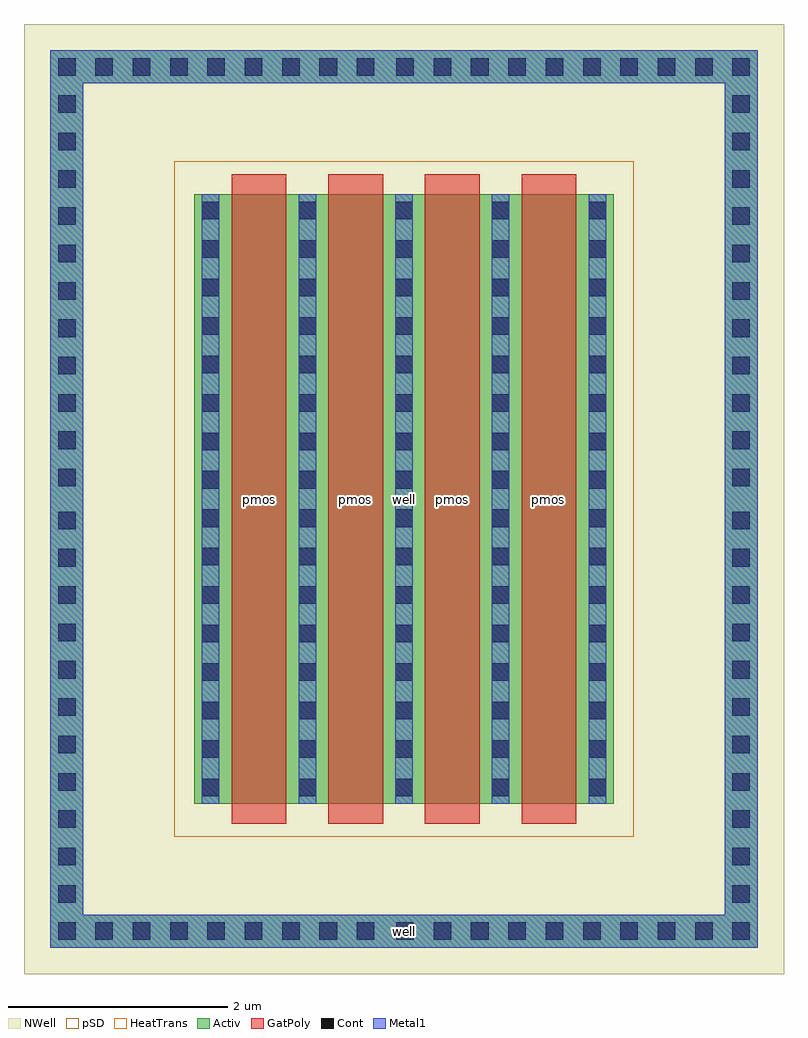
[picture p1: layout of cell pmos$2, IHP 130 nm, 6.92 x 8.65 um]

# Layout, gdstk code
import gdstk
lib = gdstk.Library(unit=1e-6, precision=1e-09)
def R(c, l, rs):  # rectangles x0, y0, x1, y1
    for r in rs: c.add(gdstk.rectangle(r[:2], r[2:], *l))
def A(c, l, x, y, w, h, nx, ny, dx, dy):  # array of equal rectangles
    R(c, l, [(x+i*dx, y+j*dy, x+i*dx+w, y+j*dy+h) for i in range(nx) for j in range(ny)])
def P(c, l, *ps):  # polygons
    for p in ps: c.add(gdstk.Polygon(p, *l))
Activ = (1, 0)
GatPoly = (5, 0)
Cont = (6, 0)
Metal1 = (8, 0)
pSD = (14, 0)
NWell = (31, 0)
HeatTrans = (51, 0)

pmos_2 = lib.new_cell('pmos$2')
A(pmos_2, Activ, 0, 0, 0.3, 0.3, 5, 1, 0.88, 0)
R(pmos_2, Activ, [(0,0,3.82,5.55)])
P(pmos_2, Activ, [(-1.31,-1.31),(-1.31,6.56),(-1.01,6.56),(-1.01,-1.01),(4.83,-1.01),(4.83,6.56),(-1.31,6.56),(-1.31,6.86),(5.13,6.86),(5.13,-1.31)])
A(pmos_2, GatPoly, 0.34, -0.18, 0.5, 5.91, 4, 1, 0.88, 0)
R(pmos_2, GatPoly, [(0.34,-0.18,0.84,5.73)])
A(pmos_2, Cont, -1.24, -1.24, 0.16, 0.16, 9, 2, 0.34, 7.87)
A(pmos_2, Cont, 1.84, -1.24, 0.16, 0.16, 10, 2, 0.34, 7.87)
A(pmos_2, Cont, -1.24, -0.9, 0.16, 0.16, 1, 11, 0, 0.34)
A(pmos_2, Cont, 4.9, -0.9, 0.16, 0.16, 1, 11, 0, 0.34)
A(pmos_2, Cont, 0.07, 0.07, 0.16, 0.16, 5, 16, 0.88, 0.35)
A(pmos_2, Cont, -1.24, 2.89, 0.16, 0.16, 1, 11, 0, 0.34)
A(pmos_2, Cont, 4.9, 2.89, 0.16, 0.16, 1, 11, 0, 0.34)
A(pmos_2, Metal1, 0.95, 0, 0.16, 5.55, 4, 1, 0.88, 0)
R(pmos_2, Metal1, [(-1.31,-1.31,5.13,-1.01), (-1.31,-1.01,-1.01,6.56), (4.83,-1.01,5.13,6.56), (0.07,0,0.23,5.55), (0.07,0,0.23,5.55), (0.95,0,1.11,5.55), (-1.31,6.56,5.13,6.86)])
R(pmos_2, pSD, [(-0.18,-0.3,4,5.85)])
R(pmos_2, NWell, [(-1.55,-1.55,5.37,7.1), (-0.31,-0.31,4.13,5.86)])
A(pmos_2, HeatTrans, 0.34, -0.18, 0.5, 5.91, 4, 1, 0.88, 0)
pmos_2.add(gdstk.Label('well', (1.91,2.775), layer=31, texttype=0))
pmos_2.add(gdstk.Label('pmos', (0.59,2.775), layer=63, texttype=0))
pmos_2.add(gdstk.Label('well', (1.91,-1.16), layer=63, texttype=0))
pmos_2.add(gdstk.Label('pmos', (0.59,2.775), layer=51, texttype=0))
pmos_2.add(gdstk.Label('pmos', (1.47,2.775), layer=51, texttype=0))
pmos_2.add(gdstk.Label('pmos', (2.35,2.775), layer=51, texttype=0))
pmos_2.add(gdstk.Label('pmos', (3.23,2.775), layer=51, texttype=0))

lib.write_gds('pmos_2.gds')
